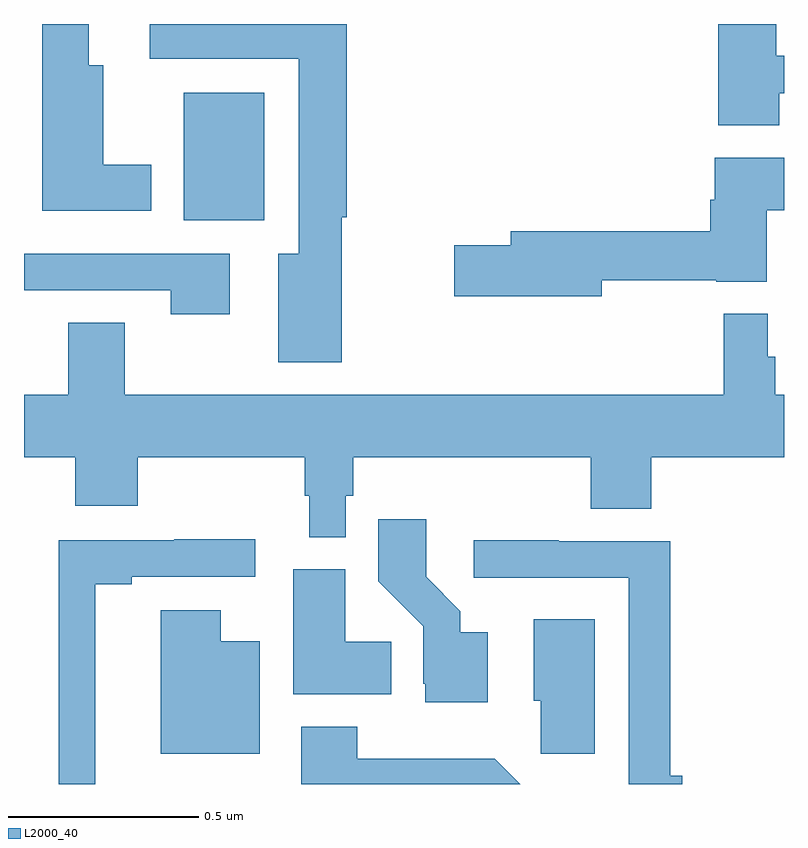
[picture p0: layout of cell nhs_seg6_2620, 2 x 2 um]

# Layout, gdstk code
import gdstk
lib = gdstk.Library(unit=1e-6, precision=1e-09)
def R(c, l, rs):  # rectangles x0, y0, x1, y1
    for r in rs: c.add(gdstk.rectangle(r[:2], r[2:], *l))
def P(c, l, *ps):  # polygons
    for p in ps: c.add(gdstk.Polygon(p, *l))
L2000_40 = (2000, 40)

nhs_seg6_2620 = lib.new_cell('nhs_seg6_2620')
R(nhs_seg6_2620, L2000_40, [(146.42,923.984,146.632,924.319)])
P(nhs_seg6_2620, L2000_40, [(146.836,923.992),(146.849,923.992),(146.849,924.5),(146.331,924.5),(146.331,924.408),(146.723,924.408),(146.723,923.896),(146.669,923.896),(146.669,923.61),(146.836,923.61)],
  [(146.335,924.13),(146.209,924.13),(146.209,924.391),(146.17,924.391),(146.17,924.5),(146.048,924.5),(146.048,924.008),(146.335,924.008)],
  [(147.987,924.318),(148,924.318),(148,924.417),(147.979,924.417),(147.979,924.5),(147.827,924.5),(147.827,924.233),(147.987,924.233)],
  [(147.52,923.826),(147.822,923.826),(147.822,923.822),(147.955,923.822),(147.955,924.01),(148,924.01),(148,924.148),(147.818,924.148),(147.818,924.038),(147.806,924.038),(147.806,923.954),(147.281,923.954),(147.281,923.918),(147.132,923.918),(147.132,923.783),(147.52,923.783)],
  [(146.542,923.895),(146,923.895),(146,923.799),(146.386,923.799),(146.386,923.736),(146.542,923.736)],
  [(146.847,923.259),(146.867,923.259),(146.867,923.36),(147.491,923.36),(147.491,923.224),(147.651,923.224),(147.651,923.36),(148,923.36),(148,923.524),(147.977,923.524),(147.977,923.625),(147.957,923.625),(147.957,923.737),(147.841,923.737),(147.841,923.524),(146.265,923.524),(146.265,923.714),(146.117,923.714),(146.117,923.524),(146,923.524),(146,923.36),(146.135,923.36),(146.135,923.232),(146.299,923.232),(146.299,923.36),(146.739,923.36),(146.739,923.259),(146.75,923.259),(146.75,923.15),(146.847,923.15)],
  [(147.22,922.9),(147.148,922.9),(147.148,922.955),(147.058,923.045),(147.058,923.197),(146.932,923.197),(146.932,923.034),(147.051,922.915),(147.051,922.764),(147.056,922.764),(147.056,922.715),(147.22,922.715)],
  [(146.188,923.026),(146.284,923.026),(146.284,923.046),(146.608,923.046),(146.608,923.144),(146.395,923.144),(146.395,923.142),(146.091,923.142),(146.091,922.5),(146.188,922.5)],
  [(147.732,922.522),(147.7,922.522),(147.7,923.139),(147.407,923.139),(147.407,923.142),(147.183,923.142),(147.183,923.043),(147.591,923.043),(147.591,922.5),(147.732,922.5)],
  [(146.966,922.874),(146.845,922.874),(146.845,923.065),(146.708,923.065),(146.708,922.736),(146.966,922.736)],
  [(146.62,922.876),(146.518,922.876),(146.518,922.957),(146.36,922.957),(146.36,922.58),(146.62,922.58)],
  [(147.502,922.933),(147.341,922.933),(147.341,922.719),(147.36,922.719),(147.36,922.579),(147.502,922.579)],
  [(147.239,922.567),(146.877,922.567),(146.877,922.651),(146.729,922.651),(146.729,922.5),(147.306,922.5)])

lib.write_gds('nhs_seg6_2620.gds')
